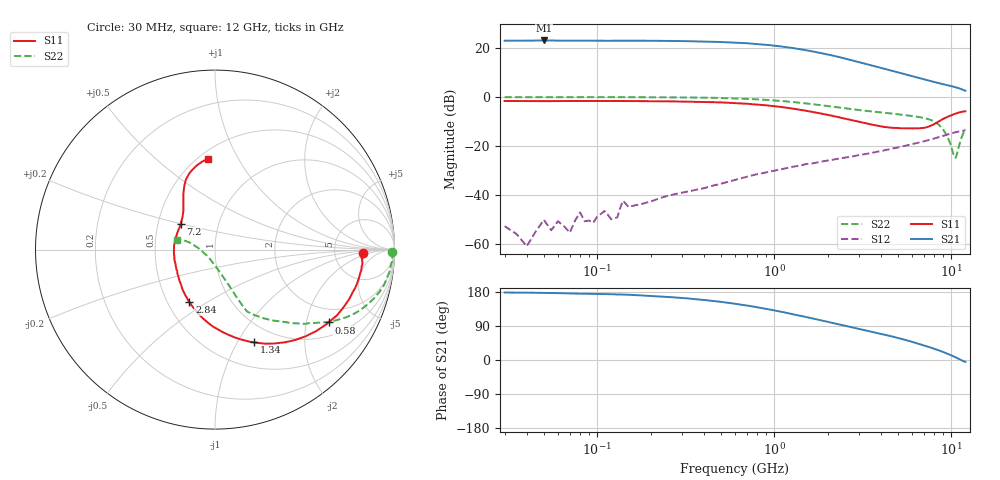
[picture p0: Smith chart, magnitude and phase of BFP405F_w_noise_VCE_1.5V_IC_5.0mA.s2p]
! Infineon Technologies  Discrete & RF Semiconductors
! BFP405F
! VCE =  1.5 V,  IC =  5.0 mA
! Common Emitter S-Parameters:  Nov 2015
# GHz  S  MA  R  50
!  f  S11  S21  S12  S22
! GHz  MAG  ANG  MAG  ANG  MAG  ANG  MAG  ANG
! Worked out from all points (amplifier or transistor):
!   239 points, 30 MHz to 12 GHz, reference 50 ohm
!   highest |S21| = 23.0 dB at 50 MHz (marker M1)
!   |S21| within 3 dB of that: start of sweep to 1.247 GHz
!   unconditionally stable (mu >= 1): 2.859 GHz to end of sweep
!   at 300 MHz: K = 0.19, MSG = 30.9 dB, |S12| = -39.1 dB
!   at 1.88 GHz: K = 0.69, MSG = 22.0 dB, |S12| = -26.3 dB
!   at 12 GHz: K = 1.46, MAG = 4.1 dB, |S12| = -13.7 dB
!   lowest NFmin = 1.29 dB at 450 MHz
!   S11 on the Smith chart (normalised r, x): 30 MHz: 10, -1; 580 MHz: 1.45, -2.71; 1.34 GHz: 0.78, -1.17; 2.84 GHz: 0.64, -0.42; 7.2 GHz: 0.66, +0.20; 12 GHz: 0.56, +0.76
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0.03  0.8243 -1.5  13.98 178.0  0.0023 109.2  0.9868 -0.7
0.04  0.8225 -2.3  14.02 177.8  0.0009 86.6  0.9883 -1.0
0.05  0.8167 -3.2  14.16 176.8  0.0031 143.8  0.9887 -1.4
0.07  0.8215 -4.1  14.03 175.5  0.0017 55.8  0.9854 -1.7
0.08  0.8245 -4.7  13.97 175.1  0.0044 56.4  0.9879 -2.1
0.085  0.8247 -4.9  14 175.0  0.0029 86.1  0.9885 -2.4
0.13  0.8223 -7.7  13.97 172.9  0.0035 101.5  0.9872 -3.7
0.145  0.8215 -8.5  14.01 172.5  0.0066 79.8  0.988 -4.1
0.24  0.8128 -14.0  13.85 166.9  0.0092 87.4  0.9808 -6.9
0.4  0.7883 -23.0  13.49 158.4  0.0137 80.2  0.9645 -11.3
0.58  0.7516 -32.7  12.85 149.4  0.0195 76.5  0.9334 -16.1
0.6  0.7473 -33.8  12.78 148.4  0.0202 76.6  0.93 -16.6
0.9  0.6729 -48.5  11.55 134.9  0.0287 70.6  0.8684 -23.4
1.34  0.5599 -67.3  9.629 118.6  0.0387 63.6  0.7712 -31.0
1.64  0.4944 -78.5  8.483 109.8  0.0439 60.7  0.7117 -34.9
2.2  0.3985 -97.7  6.79 96.3  0.0533 57.1  0.6215 -41.5
2.84  0.3255 -116.0  5.413 84.9  0.0622 54.4  0.5525 -46.7
4.5  0.2369 -157.5  3.487 63.6  0.086 50.6  0.4615 -55.3
7.2  0.2384 142.9  2.217 36.6  0.1273 42.6  0.3618 -63.4
9  0.3565 119.6  1.811 21.0  0.1609 35.6  0.213 -68.7
10.4  0.4464 108.9  1.596 8.7  0.1872 27.9  0.0583 -120.9
12  0.5075 94.1  1.336 -4.9  0.2068 19.3  0.2212 165.3
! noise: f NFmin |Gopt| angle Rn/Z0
0.45  1.29  0.38  5  0.34
0.9  1.3  0.35  13  0.36
1.5  1.37  0.33  18  0.31
1.9  1.4  0.31  25  0.32
2.4  1.56  0.29  33  0.34
3  1.63  0.27  45  0.32
3.5  1.68  0.25  54  0.31
4.5  1.84  0.2  66  0.28
5.5  2.06  0.12  78  0.11
